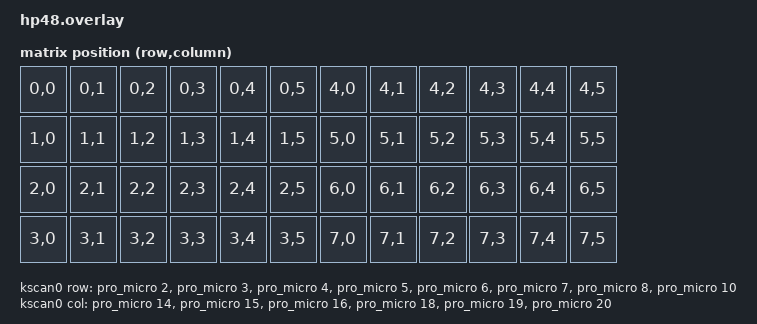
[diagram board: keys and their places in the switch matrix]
/*
 * HP48: single-board nice!nano, 48 keys wired as an 8-row x 6-column matrix,
 * plus a PS/2 TrackPoint on D0/D1 (no reset wire).
 *
 * The PS/2 section is adapted from infused-kim's example zmk-config
 * (kb_zmk_ps2_mouse_trackpoint_driver-zmk_config, corne_tp_right.overlay).
 */

#include <dt-bindings/zmk/matrix_transform.h>

/*
 * Matrix pins
 *   rows (8):    D2 D3 D4 D5 D6 D7 D8 D10
 *   columns (6): D14 D15 D16 D18 D19 D20
 *   TrackPoint:  D1 (clock), D0 (data)
 *   spare:       D9, D21
 * Diode direction is col2row. If your diodes face the other way, change it
 * to "row2col" and swap which list gets GPIO_PULL_DOWN (the input side).
 */

/ {
    chosen {
        zmk,kscan = &kscan0;
        zmk,matrix-transform = &default_transform;
    };

    kscan0: kscan {
        compatible = "zmk,kscan-gpio-matrix";
        diode-direction = "col2row";
        wakeup-source;

        row-gpios
            = <&pro_micro 2  (GPIO_ACTIVE_HIGH | GPIO_PULL_DOWN)>
            , <&pro_micro 3  (GPIO_ACTIVE_HIGH | GPIO_PULL_DOWN)>
            , <&pro_micro 4  (GPIO_ACTIVE_HIGH | GPIO_PULL_DOWN)>
            , <&pro_micro 5  (GPIO_ACTIVE_HIGH | GPIO_PULL_DOWN)>
            , <&pro_micro 6  (GPIO_ACTIVE_HIGH | GPIO_PULL_DOWN)>
            , <&pro_micro 7  (GPIO_ACTIVE_HIGH | GPIO_PULL_DOWN)>
            , <&pro_micro 8  (GPIO_ACTIVE_HIGH | GPIO_PULL_DOWN)>
            , <&pro_micro 10 (GPIO_ACTIVE_HIGH | GPIO_PULL_DOWN)>
            ;

        col-gpios
            = <&pro_micro 14 GPIO_ACTIVE_HIGH>
            , <&pro_micro 15 GPIO_ACTIVE_HIGH>
            , <&pro_micro 16 GPIO_ACTIVE_HIGH>
            , <&pro_micro 18 GPIO_ACTIVE_HIGH>
            , <&pro_micro 19 GPIO_ACTIVE_HIGH>
            , <&pro_micro 20 GPIO_ACTIVE_HIGH>
            ;
    };

    /*
     * Maps the 4x12 key grid onto the 8x6 matrix. The left half of the
     * keyboard (physical columns 0-5) uses matrix rows 0-3, and the right
     * half (physical columns 6-11) uses matrix rows 4-7, both on matrix
     * columns 0-5. If you wire the matrix differently, only this map
     * needs to change.
     */
    default_transform: keymap_transform_0 {
        compatible = "zmk,matrix-transform";
        columns = <6>;
        rows = <8>;
        map = <
RC(0,0) RC(0,1) RC(0,2) RC(0,3) RC(0,4) RC(0,5)  RC(4,0) RC(4,1) RC(4,2) RC(4,3) RC(4,4) RC(4,5)
RC(1,0) RC(1,1) RC(1,2) RC(1,3) RC(1,4) RC(1,5)  RC(5,0) RC(5,1) RC(5,2) RC(5,3) RC(5,4) RC(5,5)
RC(2,0) RC(2,1) RC(2,2) RC(2,3) RC(2,4) RC(2,5)  RC(6,0) RC(6,1) RC(6,2) RC(6,3) RC(6,4) RC(6,5)
RC(3,0) RC(3,1) RC(3,2) RC(3,3) RC(3,4) RC(3,5)  RC(7,0) RC(7,1) RC(7,2) RC(7,3) RC(7,4) RC(7,5)
        >;
    };
};

/* ------------------------------------------------------------------------
 * PS/2 Mouse / TrackPoint - user configuration
 * ---------------------------------------------------------------------- */

// Use the UART-based PS/2 driver (much better performance on the nice!nano).
// Comment this out to fall back to the GPIO driver if the UART one can't talk
// to your pointing device.
#define MOUSE_PS2_DRIVER_UART

// Wiring: green = clock -> D1, white = data -> D0 (both high-frequency pins).
// Also fit 4.7k-10k pull-ups from clock and data to VCC (3.3V).
#define MOUSE_PS2_PIN_SCL_PRO_MICRO <&pro_micro 1 GPIO_ACTIVE_HIGH>
#define MOUSE_PS2_PIN_SDA_PRO_MICRO <&pro_micro 0 GPIO_ACTIVE_HIGH>

// Power-On-Reset pin: NOT used, because this module has no reset wire.
// If you ever need it, uncomment (D9 is free):
// #define MOUSE_PS2_PIN_RST_PRO_MICRO <&pro_micro 9 GPIO_ACTIVE_HIGH>

// SDA in pinctrl notation. Must be the same pin as SDA above.
// D0 = P0.08 -> "0, 8"
#define MOUSE_PS2_PIN_SDA_PINCTRL <NRF_PSEL(UART_RX, 0, 8)>

// UART baud rate. 14400 is the closest to the ~14.9 kHz PS/2 clock and works
// with all TrackPoints the community has tested. If your module doesn't
// respond, try <19200> or <9600>.
#define MOUSE_PS2_UART_BAUD_RATE <14400>

/*
 * Do NOT change anything below if you are using a nice!nano v2 (or clone).
 */

// Unexposed UART pins. UART needs separate TX and RX pins, but PS/2 shares
// one wire, so we use two nRF52 pins that the nice!nano does not expose.
#define MOUSE_PS2_PIN_UNEXPOSED_TX <NRF_PSEL(UART_TX, 0, 27)>
#define MOUSE_PS2_PIN_UNEXPOSED_RX <NRF_PSEL(UART_RX, 0, 28)>

// PS/2 needs fast interrupt handling. GPIOTE gets the highest priority and
// everything else is demoted by two levels (values for nice_nano_v2).
&gpiote   { interrupts = < 6 0 >; };
&clock    { interrupts = < 0 3 >; };
&power    { interrupts = < 0 3 >; };
&radio    { interrupts = < 1 3 >; };
&uart0    { interrupts = < 2 3 >; };
&i2c0     { interrupts = < 3 3 >; };
&spi0     { interrupts = < 3 3 >; };
&i2c1     { interrupts = < 4 3 >; };
&spi1     { interrupts = < 4 3 >; };
&nfct     { interrupts = < 5 3 >; };
&adc      { interrupts = < 7 3 >; };
&timer0   { interrupts = < 8 3 >; };
&timer1   { interrupts = < 9 3 >; };
&timer2   { interrupts = < 10 3 >; };
&rtc0     { interrupts = < 11 3 >; };
&temp     { interrupts = < 12 3 >; };
&rng      { interrupts = < 13 3 >; };
&ecb      { interrupts = < 14 3 >; };
&ccm      { interrupts = < 15 3 >; };
&wdt      { interrupts = < 16 3 >; };
&rtc1     { interrupts = < 17 3 >; };
&qdec     { interrupts = < 18 3 >; };
&comp     { interrupts = < 19 3 >; };
&egu0     { interrupts = < 20 3 >; };
&egu1     { interrupts = < 21 3 >; };
&egu2     { interrupts = < 22 3 >; };
&egu3     { interrupts = < 23 3 >; };
&egu4     { interrupts = < 24 3 >; };
&egu5     { interrupts = < 25 3 >; };
&timer3   { interrupts = < 26 3 >; };
&timer4   { interrupts = < 27 3 >; };
&pwm0     { interrupts = < 28 3 >; };
&pdm0     { interrupts = < 29 3 >; };
&pwm1     { interrupts = < 33 3 >; };
&pwm2     { interrupts = < 34 3 >; };
&spi2     { interrupts = < 35 3 >; };
&rtc2     { interrupts = < 36 3 >; };
&i2s0     { interrupts = < 37 3 >; };
&usbd     { interrupts = < 39 3 >; };
&uart1    { interrupts = < 40 3 >; };
&qspi     { interrupts = < 41 3 >; };
&pwm3     { interrupts = < 45 3 >; };
&spi3     { interrupts = < 47 3 >; };
&cryptocell { interrupts = < 42 3 >; };

/*
 * PS/2 device definitions. Do not change anything below.
 */

// Lets the keymap check that these nodes exist.
#define MOUSE_PS2_DT_PRESENT

&pinctrl {
    // Receiving: UART_TX on an unused pin, UART_RX on the PS/2 SDA pin
    uart0_ps2_default: uart0_ps2_default {
        group1 {
            psels = MOUSE_PS2_PIN_UNEXPOSED_TX,
                    MOUSE_PS2_PIN_SDA_PINCTRL;
        };
    };

    uart0_ps2_sleep: uart0_ps2_sleep {
        group1 {
            psels = MOUSE_PS2_PIN_UNEXPOSED_TX,
                    MOUSE_PS2_PIN_SDA_PINCTRL;
            low-power-enable;
        };
    };

    // Writing uses GPIO bit-banging, so the UART is moved off the SDA pin
    uart0_ps2_off: uart0_ps2_off {
        group1 {
            psels = MOUSE_PS2_PIN_UNEXPOSED_TX,
                    MOUSE_PS2_PIN_UNEXPOSED_RX;
        };
    };
};

#ifdef MOUSE_PS2_DRIVER_UART

&uart0 {
    status = "disabled";
    compatible = "nordic,nrf-uarte";
    current-speed = MOUSE_PS2_UART_BAUD_RATE;
    pinctrl-0 = <&uart0_ps2_default>;
    pinctrl-1 = <&uart0_ps2_off>;
    pinctrl-names = "default", "sleep";

    uart_ps2: uart_ps2 {
        status = "disabled";
        compatible = "uart-ps2";
        scl-gpios = MOUSE_PS2_PIN_SCL_PRO_MICRO;
        sda-gpios = MOUSE_PS2_PIN_SDA_PRO_MICRO;
    };
};

#else

/ {
    gpio_ps2: gpio_ps2 {
        status = "disabled";
        compatible = "gpio-ps2";
        scl-gpios = MOUSE_PS2_PIN_SCL_PRO_MICRO;
        sda-gpios = MOUSE_PS2_PIN_SDA_PRO_MICRO;
    };
};

#endif

/ {
    mouse_ps2: mouse_ps2 {
        status = "disabled";
        compatible = "zmk,input-mouse-ps2";

#ifdef MOUSE_PS2_DRIVER_UART
        ps2-device = <&uart_ps2>;
#else
        ps2-device = <&gpio_ps2>;
#endif

#ifdef MOUSE_PS2_PIN_RST_PRO_MICRO
        rst-gpios = MOUSE_PS2_PIN_RST_PRO_MICRO;
#endif
    };

    mouse_ps2_input_listener: mouse_ps2_input_listener {
        compatible = "zmk,input-listener-ps2";
        status = "disabled";
        device = <&mouse_ps2>;
        // Layer toggling and axis settings live in config/include/mouse_tp.dtsi
    };
};
